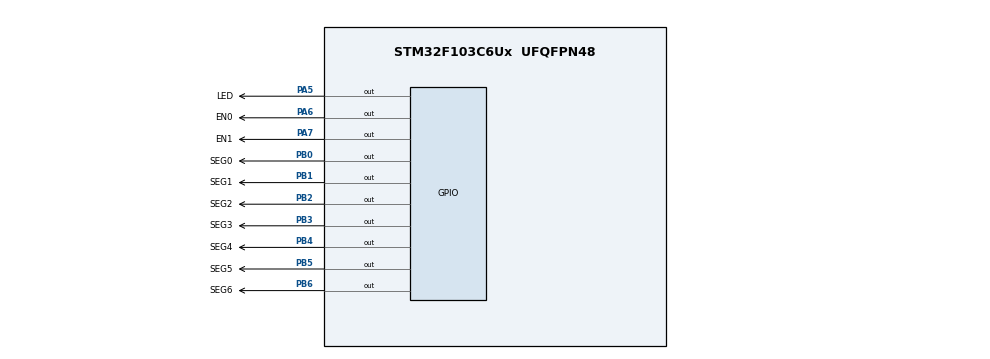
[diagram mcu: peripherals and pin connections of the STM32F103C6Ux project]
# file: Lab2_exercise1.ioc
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Mcu.Family=STM32F1
Mcu.Name=STM32F103C6Ux
Mcu.Package=UFQFPN48
NVIC.PriorityGroup=NVIC_PRIORITYGROUP_4
NVIC.TIM2_IRQn=true\:0\:0\:false\:false\:true\:true\:true
PA5.GPIO_Label=LED
PA5.Signal=GPIO_Output
PA6.GPIO_Label=EN0
PA6.Signal=GPIO_Output
PA7.GPIO_Label=EN1
PA7.Signal=GPIO_Output
PB0.GPIO_Label=SEG0
PB0.Signal=GPIO_Output
PB1.GPIO_Label=SEG1
PB1.Signal=GPIO_Output
PB2.GPIO_Label=SEG2
PB2.Signal=GPIO_Output
PB3.GPIO_Label=SEG3
PB3.Signal=GPIO_Output
PB4.GPIO_Label=SEG4
PB4.Signal=GPIO_Output
PB5.GPIO_Label=SEG5
PB5.Signal=GPIO_Output
PB6.GPIO_Label=SEG6
PB6.Signal=GPIO_Output
ProjectManager.HeapSize=0x200
ProjectManager.StackSize=0x400
ProjectManager.TargetToolchain=STM32CubeIDE
RCC.APB1Freq_Value=8000000
RCC.APB2Freq_Value=8000000
TIM2.Period=499
TIM2.Prescaler=7999
VP_SYS_VS_ND.Mode=No_Debug
VP_TIM2_VS_ClockSourceINT.Mode=Internal
board=custom

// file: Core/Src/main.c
/* USER CODE BEGIN Header */
/**
  ******************************************************************************
  * @file           : main.c
  * @brief          : Main program body
  ******************************************************************************
  * @attention
  *
  * <h2><center>&copy; Copyright (c) 2025 STMicroelectronics.
  * All rights reserved.</center></h2>
  *
  * This software component is licensed by ST under BSD 3-Clause license,
  * the "License"; You may not use this file except in compliance with the
  * License. You may obtain a copy of the License at:
  *                        opensource.org/licenses/BSD-3-Clause
  *
  ******************************************************************************
  */
/* USER CODE END Header */
#include "main.h"
#include "Ex1.h"

TIM_HandleTypeDef htim2;

void SystemClock_Config(void);
static void MX_GPIO_Init(void);
static void MX_TIM2_Init(void);

int main(void)
{

  /* MCU Configuration--------------------------------------------------------*/

  /* Reset of all peripherals, Initializes the Flash interface and the Systick. */
  HAL_Init();

  /* Configure the system clock */
  SystemClock_Config();

  /* Initialize all configured peripherals */
  MX_GPIO_Init();
  MX_TIM2_Init();
  /* USER CODE BEGIN 2 */
  HAL_TIM_Base_Start_IT(&htim2);
  /* USER CODE END 2 */

  /* Infinite loop */
  while (1)
  {

  }
}

void SystemClock_Config(void)
{
  RCC_OscInitTypeDef RCC_OscInitStruct = {0};
  RCC_ClkInitTypeDef RCC_ClkInitStruct = {0};

  /** Initializes the RCC Oscillators according to the specified parameters
  * in the RCC_OscInitTypeDef structure.
  */
  RCC_OscInitStruct.OscillatorType = RCC_OSCILLATORTYPE_HSI;
  RCC_OscInitStruct.HSIState = RCC_HSI_ON;
  RCC_OscInitStruct.HSICalibrationValue = RCC_HSICALIBRATION_DEFAULT;
  RCC_OscInitStruct.PLL.PLLState = RCC_PLL_NONE;
  if (HAL_RCC_OscConfig(&RCC_OscInitStruct) != HAL_OK)
  {
    Error_Handler();
  }
  /** Initializes the CPU, AHB and APB buses clocks
  */
  RCC_ClkInitStruct.ClockType = RCC_CLOCKTYPE_HCLK|RCC_CLOCKTYPE_SYSCLK
                              |RCC_CLOCKTYPE_PCLK1|RCC_CLOCKTYPE_PCLK2;
  RCC_ClkInitStruct.SYSCLKSource = RCC_SYSCLKSOURCE_HSI;
  RCC_ClkInitStruct.AHBCLKDivider = RCC_SYSCLK_DIV1;
  RCC_ClkInitStruct.APB1CLKDivider = RCC_HCLK_DIV1;
  RCC_ClkInitStruct.APB2CLKDivider = RCC_HCLK_DIV1;

  if (HAL_RCC_ClockConfig(&RCC_ClkInitStruct, FLASH_LATENCY_0) != HAL_OK)
  {
    Error_Handler();
  }
}

static void MX_TIM2_Init(void)
{

  TIM_ClockConfigTypeDef sClockSourceConfig = {0};
  TIM_MasterConfigTypeDef sMasterConfig = {0};

  htim2.Instance = TIM2;
  htim2.Init.Prescaler = 7999;
  htim2.Init.CounterMode = TIM_COUNTERMODE_UP;
  htim2.Init.Period = 499;
  htim2.Init.ClockDivision = TIM_CLOCKDIVISION_DIV1;
  htim2.Init.AutoReloadPreload = TIM_AUTORELOAD_PRELOAD_DISABLE;
  if (HAL_TIM_Base_Init(&htim2) != HAL_OK)
  {
    Error_Handler();
  }
  sClockSourceConfig.ClockSource = TIM_CLOCKSOURCE_INTERNAL;
  if (HAL_TIM_ConfigClockSource(&htim2, &sClockSourceConfig) != HAL_OK)
  {
    Error_Handler();
  }
  sMasterConfig.MasterOutputTrigger = TIM_TRGO_RESET;
  sMasterConfig.MasterSlaveMode = TIM_MASTERSLAVEMODE_DISABLE;
  if (HAL_TIMEx_MasterConfigSynchronization(&htim2, &sMasterConfig) != HAL_OK)
  {
    Error_Handler();
  }

}

static void MX_GPIO_Init(void)
{
  GPIO_InitTypeDef GPIO_InitStruct = {0};

  /* GPIO Ports Clock Enable */
  __HAL_RCC_GPIOA_CLK_ENABLE();
  __HAL_RCC_GPIOB_CLK_ENABLE();

  /*Configure GPIO pin Output Level */
  HAL_GPIO_WritePin(GPIOA, LED_Pin|EN0_Pin|EN1_Pin, GPIO_PIN_RESET);

  /*Configure GPIO pin Output Level */
  HAL_GPIO_WritePin(GPIOB, SEG0_Pin|SEG1_Pin|SEG2_Pin|SEG3_Pin
                          |SEG4_Pin|SEG5_Pin|SEG6_Pin, GPIO_PIN_RESET);

  /*Configure GPIO pins : LED_Pin EN0_Pin EN1_Pin */
  GPIO_InitStruct.Pin = LED_Pin|EN0_Pin|EN1_Pin;
  GPIO_InitStruct.Mode = GPIO_MODE_OUTPUT_PP;
  GPIO_InitStruct.Pull = GPIO_NOPULL;
  GPIO_InitStruct.Speed = GPIO_SPEED_FREQ_LOW;
  HAL_GPIO_Init(GPIOA, &GPIO_InitStruct);

  /*Configure GPIO pins : SEG0_Pin SEG1_Pin SEG2_Pin SEG3_Pin
                           SEG4_Pin SEG5_Pin SEG6_Pin */
  GPIO_InitStruct.Pin = SEG0_Pin|SEG1_Pin|SEG2_Pin|SEG3_Pin
                          |SEG4_Pin|SEG5_Pin|SEG6_Pin;
  GPIO_InitStruct.Mode = GPIO_MODE_OUTPUT_PP;
  GPIO_InitStruct.Pull = GPIO_NOPULL;
  GPIO_InitStruct.Speed = GPIO_SPEED_FREQ_LOW;
  HAL_GPIO_Init(GPIOB, &GPIO_InitStruct);

}

/* USER CODE BEGIN 4 */
int counter = 100;
int current_digit = 1;
void HAL_TIM_PeriodElapsedCallback (TIM_HandleTypeDef *htim){
	counter--;
	if (counter <= 0){
		counter = 100;
		HAL_GPIO_TogglePin(LED_GPIO_Port, LED_Pin);
	}

	HAL_GPIO_WritePin(EN0_GPIO_Port, EN0_Pin, GPIO_PIN_SET);
	HAL_GPIO_WritePin(EN1_GPIO_Port, EN1_Pin, GPIO_PIN_SET);

	if (current_digit == 1){
		HAL_GPIO_WritePin(EN0_GPIO_Port, EN0_Pin, GPIO_PIN_RESET);
		display7SEG(1);
		current_digit = 2;
	} else {
		HAL_GPIO_WritePin(EN1_GPIO_Port, EN1_Pin, GPIO_PIN_RESET);
		display7SEG(2);
		current_digit = 1;
	}
}
/* USER CODE END 4 */

void Error_Handler(void)
{
  __disable_irq();
  while (1)
  {
  }
}

/************************ (C) COPYRIGHT STMicroelectronics *****END OF FILE****/
